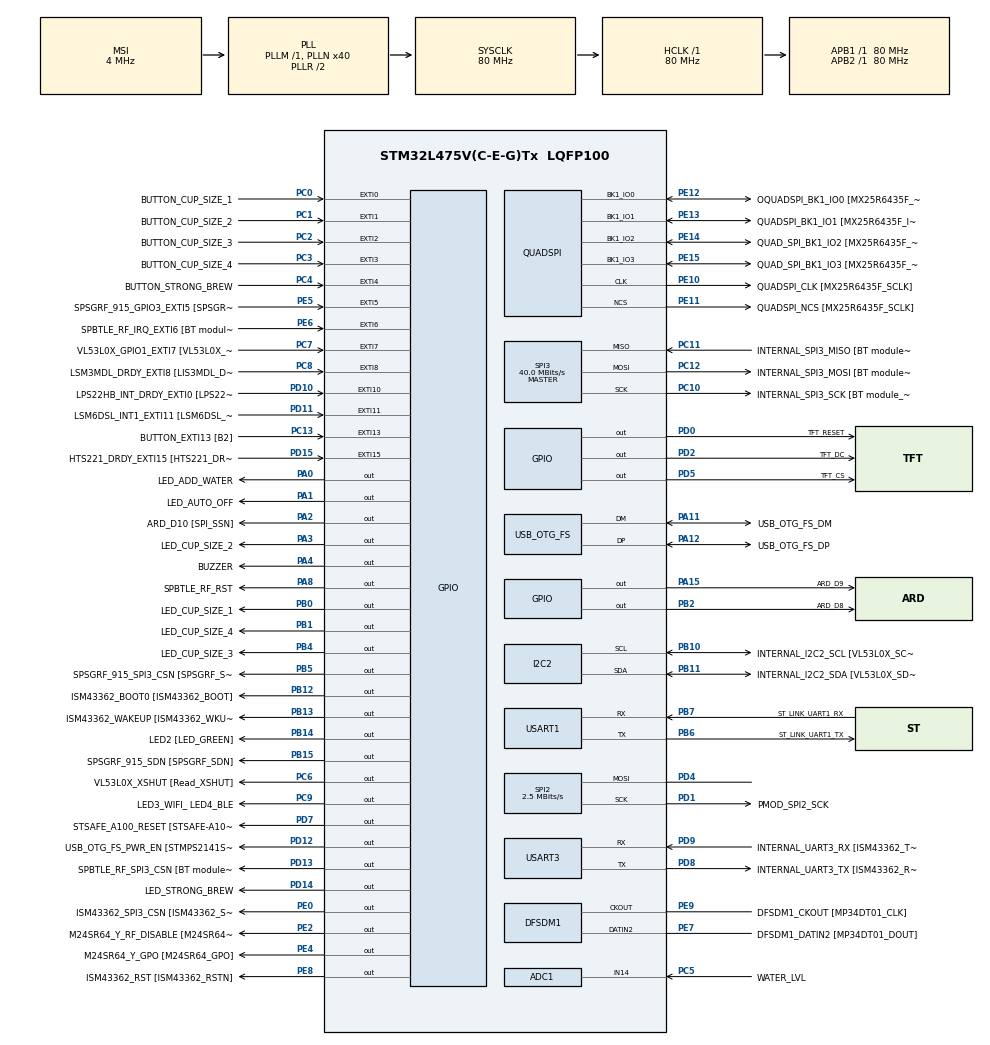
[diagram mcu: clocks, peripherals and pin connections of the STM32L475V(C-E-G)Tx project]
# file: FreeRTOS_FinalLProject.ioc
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ADC1.Channel-0\#ChannelRegularConversion=ADC_CHANNEL_14
ADC1.NbrOfConversionFlag=1
ADC1.OffsetNumber-0\#ChannelRegularConversion=ADC_OFFSET_NONE
ADC1.Rank-0\#ChannelRegularConversion=1
ADC1.SamplingTime-0\#ChannelRegularConversion=ADC_SAMPLETIME_2CYCLES_5
ADC1.master=1
FREERTOS.Queues01=xEventQueue,10,uint16_t,0,Dynamic,NULL,NULL;xConsoleQueue,10,uint16_t,0,Dynamic,NULL,NULL
FREERTOS.Tasks01=CoffStateMachin,3,512,StartCoffeeStateMachineTask,Default,NULL,Dynamic,NULL,NULL;CoffSensorTask,2,256,StartCoffeeSensorTask,Default,NULL,Dynamic,NULL,NULL;CoffConsoleTask,1,256,StartCoffeeConsoleTask,Default,NULL,Dynamic,NULL,NULL;CoffDisplayTask,-2,256,StartCoffeeDisplayTask,Default,NULL,Dynamic,NULL,NULL
FREERTOS.configTOTAL_HEAP_SIZE=8000
FREERTOS.configUSE_TIMERS=1
Mcu.Family=STM32L4
Mcu.Name=STM32L475V(C-E-G)Tx
Mcu.Package=LQFP100
NVIC.EXTI0_IRQn=true\:5\:0\:false\:false\:true\:true\:true\:true\:true
NVIC.EXTI15_10_IRQn=true\:5\:0\:false\:false\:true\:true\:true\:true\:true
NVIC.EXTI1_IRQn=true\:5\:0\:false\:false\:true\:true\:true\:true\:true
NVIC.EXTI2_IRQn=true\:5\:0\:false\:false\:true\:true\:true\:true\:true
NVIC.EXTI3_IRQn=true\:5\:0\:false\:false\:true\:true\:true\:true\:true
NVIC.EXTI4_IRQn=true\:5\:0\:false\:false\:true\:true\:true\:true\:true
NVIC.EXTI9_5_IRQn=true\:5\:0\:false\:false\:true\:true\:true\:true\:true
NVIC.PriorityGroup=NVIC_PRIORITYGROUP_4
NVIC.TIM1_UP_TIM16_IRQn=true\:15\:0\:false\:false\:true\:false\:false\:true\:true
NVIC.TimeBase=TIM1_UP_TIM16_IRQn
NVIC.TimeBaseIP=TIM1
PA0.GPIO_Label=LED_ADD_WATER
PA0.Signal=GPIO_Output
PA1.GPIO_Label=LED_AUTO_OFF
PA1.Signal=GPIO_Output
PA10.GPIO_Label=USB_OTG_FS_ID
PA10.Signal=USB_OTG_FS_ID
PA11.GPIO_Label=USB_OTG_FS_DM
PA11.Mode=Device_Only
PA11.Signal=USB_OTG_FS_DM
PA12.GPIO_Label=USB_OTG_FS_DP
PA12.Mode=Device_Only
PA12.Signal=USB_OTG_FS_DP
PA13\ (JTMS-SWDIO).GPIO_Label=SYS_JTMS_SWDIO
PA13\ (JTMS-SWDIO).Mode=Serial_Wire
PA13\ (JTMS-SWDIO).Signal=SYS_JTMS-SWDIO
PA14\ (JTCK-SWCLK).GPIO_Label=SYS_JTCK_SWCLK
PA14\ (JTCK-SWCLK).Mode=Serial_Wire
PA14\ (JTCK-SWCLK).Signal=SYS_JTCK-SWCLK
PA15\ (JTDI).GPIO_Label=ARD_D9
PA15\ (JTDI).Signal=GPIO_Output
PA2.GPIO_Label=ARD_D10 [SPI_SSN]
PA2.Signal=GPIO_Output
PA3.GPIO_Label=LED_CUP_SIZE_2
PA3.Signal=GPIO_Output
PA4.GPIO_Label=BUZZER
PA4.GPIO_ModeDefaultOutputPP=GPIO_MODE_OUTPUT_OD
PA4.GPIO_PuPd=GPIO_NOPULL
PA4.PinState=GPIO_PIN_SET
PA4.Signal=GPIO_Output
PA5.GPIO_Label=ARD_D13 [SPI1_SCK]
PA5.Signal=SPI1_SCK
PA6.GPIO_Label=ARD_D12 [SPI1_MISO]
PA6.Signal=SPI1_MISO
PA7.GPIO_Label=ARD_D11 [SPI1_MOSI]
PA7.Signal=SPI1_MOSI
PA8.GPIO_Label=SPBTLE_RF_RST
PA8.Signal=GPIO_Output
PA9.GPIO_Label=USB_OTG_FS_VBUS [STMPS2141STR_OUT]
PA9.Signal=USB_OTG_FS_VBUS
PB0.GPIO_Label=LED_CUP_SIZE_1
PB0.Signal=GPIO_Output
PB1.GPIO_Label=LED_CUP_SIZE_4
PB1.Signal=GPIO_Output
PB10.GPIO_Label=INTERNAL_I2C2_SCL [VL53L0X_SCL]
PB10.GPIO_Pu=GPIO_PULLUP
PB10.Mode=I2C
PB10.Signal=I2C2_SCL
PB11.GPIO_Label=INTERNAL_I2C2_SDA [VL53L0X_SDA]
PB11.GPIO_Pu=GPIO_PULLUP
PB11.Mode=I2C
PB11.Signal=I2C2_SDA
PB12.GPIO_Label=ISM43362_BOOT0 [ISM43362_BOOT]
PB12.Signal=GPIO_Output
PB13.GPIO_Label=ISM43362_WAKEUP [ISM43362_WKUP]
PB13.Signal=GPIO_Output
PB14.GPIO_Label=LED2 [LED_GREEN]
PB14.Signal=GPIO_Output
PB15.GPIO_Label=SPSGRF_915_SDN [SPSGRF_SDN]
PB15.Signal=GPIO_Output
PB2.GPIO_Label=ARD_D8
PB2.Signal=GPIO_Output
PB3\ (JTDO-TRACESWO).GPIO_Label=SYS_JTD0_SWO
PB3\ (JTDO-TRACESWO).Signal=SYS_JTDO-SWO
PB4\ (NJTRST).GPIO_Label=LED_CUP_SIZE_3
PB4\ (NJTRST).Signal=GPIO_Output
PB5.GPIO_Label=SPSGRF_915_SPI3_CSN [SPSGRF_SPI_CS]
PB5.PinState=GPIO_PIN_SET
PB5.Signal=GPIO_Output
PB6.GPIO_Label=ST_LINK_UART1_TX
PB6.Mode=Asynchronous
PB6.Signal=USART1_TX
PB7.GPIO_Label=ST_LINK_UART1_RX
PB7.Mode=Asynchronous
PB7.Signal=USART1_RX
PB8.GPIO_Label=ARD_D15 [I2C1_SCL]
PB8.Signal=I2C1_SCL
PB9.GPIO_Label=ARD_D14 [I2C1_SDA]
PB9.Signal=I2C1_SDA
PC0.GPIO_Label=BUTTON_CUP_SIZE_1
PC0.GPIO_ModeDefaultEXTI=GPIO_MODE_IT_FALLING
PC0.GPIO_PuPd=GPIO_PULLUP
PC0.Signal=GPXTI0
PC1.GPIO_Label=BUTTON_CUP_SIZE_2
PC1.GPIO_ModeDefaultEXTI=GPIO_MODE_IT_FALLING
PC1.GPIO_PuPd=GPIO_PULLUP
PC1.Signal=GPXTI1
PC10.GPIO_Label=INTERNAL_SPI3_SCK [BT module_SPI_SCLK] [ISM43362_SCK]
PC10.Mode=Full_Duplex_Master
PC10.Signal=SPI3_SCK
PC11.GPIO_Label=INTERNAL_SPI3_MISO [BT module_SPI_MISO] [ISM43362_MISO]
PC11.Mode=Full_Duplex_Master
PC11.Signal=SPI3_MISO
PC12.GPIO_Label=INTERNAL_SPI3_MOSI [BT module_SPI_MOSI] [ISM43362_MOSI]
PC12.Mode=Full_Duplex_Master
PC12.Signal=SPI3_MOSI
PC13.GPIO_Label=BUTTON_EXTI13 [B2]
PC13.GPIO_ModeDefaultEXTI=GPIO_MODE_IT_FALLING
PC13.GPIO_PuPd=GPIO_NOPULL
PC13.Signal=GPXTI13
PC14-OSC32_IN\ (PC14).Mode=LSE-External-Oscillator
PC14-OSC32_IN\ (PC14).Signal=RCC_OSC32_IN
PC15-OSC32_OUT\ (PC15).Mode=LSE-External-Oscillator
PC15-OSC32_OUT\ (PC15).Signal=RCC_OSC32_OUT
PC2.GPIO_Label=BUTTON_CUP_SIZE_3
PC2.GPIO_ModeDefaultEXTI=GPIO_MODE_IT_FALLING
PC2.GPIO_PuPd=GPIO_PULLUP
PC2.Signal=GPXTI2
PC3.GPIO_Label=BUTTON_CUP_SIZE_4
PC3.GPIO_ModeDefaultEXTI=GPIO_MODE_IT_FALLING
PC3.GPIO_PuPd=GPIO_PULLUP
PC3.Signal=GPXTI3
PC4.GPIO_Label=BUTTON_STRONG_BREW
PC4.GPIO_ModeDefaultEXTI=GPIO_MODE_IT_FALLING
PC4.GPIO_PuPd=GPIO_PULLUP
PC4.Signal=GPXTI4
PC5.GPIO_Label=WATER_LVL
PC5.Signal=ADCx_IN14
PC6.GPIO_Label=VL53L0X_XSHUT [Read_XSHUT]
PC6.Signal=GPIO_Output
PC7.GPIO_Label=VL53L0X_GPIO1_EXTI7 [VL53L0X_GPIO1]
PC7.Signal=GPXTI7
PC8.GPIO_Label=LSM3MDL_DRDY_EXTI8 [LIS3MDL_DRDY]
PC8.Signal=GPXTI8
PC9.GPIO_Label=LED3_WIFI_ LED4_BLE
PC9.Signal=GPIO_Output
PD0.GPIO_Label=TFT_RESET
PD0.Signal=GPIO_Output
PD1.GPIO_Label=PMOD_SPI2_SCK
PD1.Mode=Simplex_Bidirectional_Master
PD1.Signal=SPI2_SCK
PD10.GPIO_Label=LPS22HB_INT_DRDY_EXTI0 [LPS22HB_INT_DRDY] 
PD10.Signal=GPXTI10
PD11.GPIO_Label=LSM6DSL_INT1_EXTI11 [LSM6DSL_INT1]
PD11.Signal=GPXTI11
PD12.GPIO_Label=USB_OTG_FS_PWR_EN [STMPS2141STR_EN]
PD12.Signal=GPIO_Output
PD13.GPIO_Label=SPBTLE_RF_SPI3_CSN [BT module_SPI_CS]
PD13.PinState=GPIO_PIN_SET
PD13.Signal=GPIO_Output
PD14.GPIO_Label=LED_STRONG_BREW
PD14.Signal=GPIO_Output
PD15.GPIO_Label=HTS221_DRDY_EXTI15 [HTS221_DRDY]
PD15.Signal=GPXTI15
PD2.GPIO_Label=TFT_DC
PD2.Signal=GPIO_Output
PD3.Signal=SPI2_MISO
PD4.Mode=Simplex_Bidirectional_Master
PD4.Signal=SPI2_MOSI
PD5.GPIO_Label=TFT_CS
PD5.Signal=GPIO_Output
PD6.GPIO_Label=PMOD_UART2_RX
PD6.Signal=USART2_RX
PD7.GPIO_Label=STSAFE_A100_RESET [STSAFE-A100_RESET]
PD7.Signal=GPIO_Output
PD8.GPIO_Label=INTERNAL_UART3_TX [ISM43362_RX]
PD8.Mode=Asynchronous
PD8.Signal=USART3_TX
PD9.GPIO_Label=INTERNAL_UART3_RX [ISM43362_TX]
PD9.Mode=Asynchronous
PD9.Signal=USART3_RX
PE0.GPIO_Label=ISM43362_SPI3_CSN [ISM43362_SSN]
PE0.PinState=GPIO_PIN_SET
PE0.Signal=GPIO_Output
PE10.GPIO_Label=QUADSPI_CLK [MX25R6435F_SCLK]
PE10.Mode=Single Bank
PE10.Signal=QUADSPI_CLK
PE11.GPIO_Label=QUADSPI_NCS [MX25R6435F_SCLK]
PE11.Mode=Single Bank
PE11.Signal=QUADSPI_NCS
PE12.GPIO_Label=OQUADSPI_BK1_IO0 [MX25R6435F_IO0]
PE12.Mode=Single Bank
PE12.Signal=QUADSPI_BK1_IO0
PE13.GPIO_Label=QUADSPI_BK1_IO1 [MX25R6435F_IO1]
PE13.Mode=Single Bank
PE13.Signal=QUADSPI_BK1_IO1
PE14.GPIO_Label=QUAD_SPI_BK1_IO2 [MX25R6435F_IO2]
PE14.Mode=Single Bank
PE14.Signal=QUADSPI_BK1_IO2
PE15.GPIO_Label=QUAD_SPI_BK1_IO3 [MX25R6435F_IO3]
PE15.Mode=Single Bank
PE15.Signal=QUADSPI_BK1_IO3
PE2.GPIO_Label=M24SR64_Y_RF_DISABLE [M24SR64_RFDIS]
PE2.Signal=GPIO_Output
PE4.GPIO_Label=M24SR64_Y_GPO [M24SR64_GPO]
PE4.Signal=GPIO_Output
PE5.GPIO_Label=SPSGRF_915_GPIO3_EXTI5 [SPSGRF_GPIO_3]
PE5.Signal=GPXTI5
PE6.GPIO_Label=SPBTLE_RF_IRQ_EXTI6 [BT module_SPI_IRQ]
PE6.Signal=GPXTI6
PE7.GPIO_Label=DFSDM1_DATIN2 [MP34DT01_DOUT]
PE7.Signal=S_DATAIN2DFSDM1
PE8.GPIO_Label=ISM43362_RST [ISM43362_RSTN]
PE8.Signal=GPIO_Output
PE9.GPIO_Label=DFSDM1_CKOUT [MP34DT01_CLK]
PE9.Signal=S_CKOUTDFSDM1
ProjectManager.HeapSize=0x200
ProjectManager.StackSize=0x400
ProjectManager.TargetToolchain=STM32CubeIDE
QUADSPI.ClockPrescaler=2
QUADSPI.FifoThreshold=4
QUADSPI.FlashSize=23
QUADSPI.SampleShifting=QSPI_SAMPLE_SHIFTING_HALFCYCLE
RCC.ADCFreq_Value=48000000
RCC.AHBFreq_Value=80000000
RCC.APB1Freq_Value=80000000
RCC.APB1TimFreq_Value=80000000
RCC.APB2Freq_Value=80000000
RCC.APB2TimFreq_Value=80000000
RCC.CortexFreq_Value=80000000
RCC.HCLKFreq_Value=80000000
RCC.HSE_VALUE=8000000
RCC.HSI_VALUE=16000000
RCC.MSI_VALUE=4000000
RCC.PLLN=40
RCC.PLLSAI1N=24
RCC.SYSCLKFreq_VALUE=80000000
RCC.SYSCLKSource=RCC_SYSCLKSOURCE_PLLCLK
RCC.USBFreq_Value=48000000
RCC.VCOOutputFreq_Value=160000000
SH.ADCx_IN14.0=ADC1_IN14,IN14-Single-Ended
SH.S_CKOUTDFSDM1.0=DFSDM1_CKOUT,CKOUT
SH.S_CKOUTDFSDM1.1=DFSDM1_CKOUT,PDM_SPI_Input_from_ch12_and_Internal_Clock
SH.S_DATAIN2DFSDM1.0=DFSDM1_DATIN2,PDM_SPI_Input_from_ch12_and_Internal_Clock
SPI2.BaudRatePrescaler=SPI_BAUDRATEPRESCALER_32
SPI2.CalculateBaudRate=2.5 MBits/s
SPI2.DataSize=SPI_DATASIZE_8BIT
SPI2.Direction=SPI_DIRECTION_1LINE
SPI2.Mode=SPI_MODE_MASTER
SPI2.VirtualType=VM_MASTER
SPI3.CalculateBaudRate=40.0 MBits/s
SPI3.Direction=SPI_DIRECTION_2LINES
SPI3.Mode=SPI_MODE_MASTER
SPI3.VirtualType=VM_MASTER
USART1.VirtualMode-Asynchronous=VM_ASYNC
USART3.VirtualMode-Asynchronous=VM_ASYNC
USB_OTG_FS.VirtualMode=Device_Only
VP_FREERTOS_VS_CMSIS_V1.Mode=CMSIS_V1
VP_SYS_VS_tim1.Mode=TIM1
board=B-L475E-IOT01A2

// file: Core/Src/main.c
/* USER CODE BEGIN Header */
/**
  ******************************************************************************
  * @file           : main.c
  * @brief          : Main program body
  ******************************************************************************
  * @attention
  *
  * Copyright (c) 2025 STMicroelectronics.
  * All rights reserved.
  *
  * This software is licensed under terms that can be found in the LICENSE file
  * in the root directory of this software component.
  * If no LICENSE file comes with this software, it is provided AS-IS.
  *
  ******************************************************************************
  */
/* USER CODE END Header */

#include "main.h"
#include "cmsis_os.h"

/* USER CODE BEGIN Includes */
#include <stdio.h>
#include <string.h>
#include <stdarg.h>

#include "stm32l475e_iot01_tsensor.h"

#include "st7735.h"
#include "fonts.h"
#include "display_img.h"
/* USER CODE END Includes */

/* USER CODE BEGIN PD */

#define DEBOUNCE_MS 200

/* Brew times in ms per cup size (example values) */
#define BREW_TIME_CUP1_MS   6000
#define BREW_TIME_CUP2_MS   8000
#define BREW_TIME_CUP3_MS   10000
#define BREW_TIME_CUP4_MS   12000

/* Auto-off timeout (ms) after brew finished & idle */
#define AUTO_OFF_TIMEOUT_MS   10000UL   // 60 seconds

/* Water level thresholds (0–100%) */
#define WATER_LEVEL_MIN_PERCENT   25    // below this => Add water

/* LED blink period for the active cup (ms) */
#define CUP_LED_BLINK_PERIOD_MS  300

/* Colors */
#define COLOR_BG          ST7735_BLACK
#define COLOR_TEXT        ST7735_WHITE
#define COLOR_HILIGHT     ST7735_YELLOW
#define COLOR_ERROR       ST7735_RED
#define COLOR_WATER_OK    ST7735_GREEN
#define COLOR_WATER_LOW   ST7735_MAGENTA
#define COLOR_COFFEE      ST7735_COLOR565(139, 69, 19)
#define COLOR_FRAME       ST7735_WHITE

#define CUP_X   90
#define CUP_Y   40
#define CUP_W   30
#define CUP_H   80

/* USER CODE END PD */

ADC_HandleTypeDef hadc1;

DFSDM_Channel_HandleTypeDef hdfsdm1_channel1;

I2C_HandleTypeDef hi2c2;

QSPI_HandleTypeDef hqspi;

SPI_HandleTypeDef hspi2;
SPI_HandleTypeDef hspi3;

UART_HandleTypeDef huart1;
UART_HandleTypeDef huart3;

PCD_HandleTypeDef hpcd_USB_OTG_FS;

osThreadId CoffStateMachinHandle;
osThreadId CoffSensorTaskHandle;
osThreadId CoffConsoleTaskHandle;
osThreadId CoffDisplayTaskHandle;
osMessageQId xEventQueueHandle;
osMessageQId xConsoleQueueHandle;

/* USER CODE BEGIN PV */

static volatile TickType_t gLastExtiTick[6]; // map: [0]=PC13, [1]=PC0, [2]=PC1,[3]=PC2,[4]=PC3,[5]=PC4

typedef enum
{
    COFFEE_STATE_OFF = 0,
    COFFEE_STATE_IDLE,
    COFFEE_STATE_BREWING,
	COFFEE_STATE_DONE,
    COFFEE_STATE_ERROR_NO_WATER
} CoffeeState_t;

typedef enum
{
    EVT_NONE = 0,
    EVT_POWER_TOGGLE,       // Blue button (BUTTON_EXTI13)
    EVT_STRONG_TOGGLE,      // Strong brew button
    EVT_CUP_1,
    EVT_CUP_2,
    EVT_CUP_3,
    EVT_CUP_4
} CoffeeEvent_t;

typedef enum
{
    CUP_NONE = 0,
    CUP_1,
    CUP_2,
    CUP_3,
    CUP_4
} CupSize_t;

typedef struct
{
    char text[100];
} ConsoleMessage_t;

/* State variables */
volatile CoffeeState_t gCoffeeState = COFFEE_STATE_OFF;
volatile uint8_t gStrongBrew = 0;        // 0 = normal, 1 = strong
volatile uint8_t gAutoOffFlag = 0;       // controls LED_AUTO_OFF
volatile uint32_t gLastActivityTick = 0; // for auto-off countdown
volatile CupSize_t gCurrentCup = CUP_NONE;

volatile TickType_t gBrewEndTick     = 0;      // absolute tick when brew ends
volatile uint32_t   gBrewDurationMs  = 0;      // duration of current brew

/* USER CODE END PV */

void SystemClock_Config(void);
void PeriphCommonClock_Config(void);
static void MX_GPIO_Init(void);
static void MX_DFSDM1_Init(void);
static void MX_I2C2_Init(void);
static void MX_QUADSPI_Init(void);
static void MX_SPI3_Init(void);
static void MX_USART1_UART_Init(void);
static void MX_USART3_UART_Init(void);
static void MX_USB_OTG_FS_PCD_Init(void);
static void MX_ADC1_Init(void);
static void MX_SPI2_Init(void);
void StartCoffeeStateMachineTask(void const * argument);
void StartCoffeeSensorTask(void const * argument);
void StartCoffeeConsoleTask(void const * argument);
void StartCoffeeDisplayTask(void const * argument);

/* USER CODE BEGIN PFP */
static uint8_t Coffee_ReadWaterLevelPercent(void);
static float   Coffee_ReadTemperatureDegC(void);
static void    Coffee_UpdateLeds(void);
static void    Coffee_SendConsole(const char *fmt, ...);

static void DrawHeader(const char *title);
static void DrawCupFrame(void);
static void DrawCupFill(uint8_t percent);
static void Screen_OffOrIdle(uint8_t water, float tempC);
static void Screen_Brewing(uint8_t water, float tempC);
static void Screen_Done(void);
static void Screen_AutoOff(void);
static void Screen_ErrorNoWater(void);
static uint8_t GetBrewProgressPercent(void);
/* USER CODE END PFP */

/* USER CODE BEGIN 0 */

void beep(uint8_t times) {
	for(uint8_t i=0; i < times; i++) {
		HAL_GPIO_WritePin(BUZZER_GPIO_Port, BUZZER_Pin, GPIO_PIN_RESET);
		osDelay(100);
		HAL_GPIO_WritePin(BUZZER_GPIO_Port, BUZZER_Pin, GPIO_PIN_SET);
		osDelay(100);
	}
}

//No Context Switch needed
void HAL_GPIO_EXTI_Callback(uint16_t GPIO_Pin) {
    BaseType_t xHigherPriorityTaskWoken = pdFALSE;
    CoffeeEvent_t evt = EVT_NONE;
    TickType_t now = xTaskGetTickCountFromISR();

    /* Determine index for debounce table */
    int idx = -1;

    if (GPIO_Pin == BUTTON_EXTI13_Pin)         idx = 0;  // Blue onboard button
    else if (GPIO_Pin == BUTTON_CUP_SIZE_1_Pin) idx = 1;
    else if (GPIO_Pin == BUTTON_CUP_SIZE_2_Pin) idx = 2;
    else if (GPIO_Pin == BUTTON_CUP_SIZE_3_Pin) idx = 3;
    else if (GPIO_Pin == BUTTON_CUP_SIZE_4_Pin) idx = 4;
    else if (GPIO_Pin == BUTTON_STRONG_BREW_Pin) idx = 5;

    if (idx < 0)
        return;

    if ((now - gLastExtiTick[idx]) < pdMS_TO_TICKS(DEBOUNCE_MS))
        return; // ignore bounce

    gLastExtiTick[idx] = now;

    /* Map pin to event */
    if (GPIO_Pin == BUTTON_EXTI13_Pin)
    {
        evt = EVT_POWER_TOGGLE;
    }
    else if (GPIO_Pin == BUTTON_STRONG_BREW_Pin)
    {
        evt = EVT_STRONG_TOGGLE;
    }
    else if (GPIO_Pin == BUTTON_CUP_SIZE_1_Pin)
    {
        evt = EVT_CUP_1;
    }
    else if (GPIO_Pin == BUTTON_CUP_SIZE_2_Pin)
    {
        evt = EVT_CUP_2;
    }
    else if (GPIO_Pin == BUTTON_CUP_SIZE_3_Pin)
    {
        evt = EVT_CUP_3;
    }
    else if (GPIO_Pin == BUTTON_CUP_SIZE_4_Pin)
    {
        evt = EVT_CUP_4;
    }

    if (evt != EVT_NONE && xEventQueueHandle != NULL)
    {
        xQueueSendFromISR(xEventQueueHandle, &evt, &xHigherPriorityTaskWoken);
    }
    portYIELD_FROM_ISR(xHigherPriorityTaskWoken);

}

/* Read water level as percentage (0–100) from ADC on PC5 (WATER_LVL_Pin) */
static uint8_t Coffee_ReadWaterLevelPercent(void) {
    uint32_t adc_in = 0;

    HAL_ADC_Start(&hadc1);
    if (HAL_ADC_PollForConversion(&hadc1, 10) == HAL_OK)
    {
    	adc_in = HAL_ADC_GetValue(&hadc1);
    }
    HAL_ADC_Stop(&hadc1);

    // 12-bit ADC: 0–4095 -> 0–100%
    uint8_t water_pct = (uint8_t)((adc_in * 100U) / 4095U);
    return water_pct;
}

/* Simulated temperature: here just a fake ramp or fixed value.
   You can replace this with real sensor reading (HTS221, LPS22, etc.) */
static float Coffee_ReadTemperatureDegC(void) {
    /* For now, return a dummy 85.0C as “hot water” */
    return BSP_TSENSOR_ReadTemp();
}

/* Update LEDs according to state and strong brew flag */
static void Coffee_UpdateLeds(void) {
    /* Power LED: LED2 on PB14 */
    HAL_GPIO_WritePin(LED2_GPIO_Port, LED2_Pin,
    				gCoffeeState == COFFEE_STATE_OFF ? GPIO_PIN_RESET : GPIO_PIN_SET);
    /* Auto-off LED */
    HAL_GPIO_WritePin(LED_AUTO_OFF_GPIO_Port, LED_AUTO_OFF_Pin,
                      gAutoOffFlag ? GPIO_PIN_SET : GPIO_PIN_RESET);
    /* Strong brew LED */
    HAL_GPIO_WritePin(LED_STRONG_BREW_GPIO_Port, LED_STRONG_BREW_Pin,
                      gStrongBrew ? GPIO_PIN_SET : GPIO_PIN_RESET);
    /* Cup size LEDs */
    static TickType_t lastBlinkTick = 0;
    static GPIO_PinState blinkState = GPIO_PIN_RESET;

    TickType_t now = xTaskGetTickCount();

    if (gCoffeeState == COFFEE_STATE_BREWING) {
        /* Blink at CUP_LED_BLINK_PERIOD_MS while brewing */
        if ((now - lastBlinkTick) >= pdMS_TO_TICKS(CUP_LED_BLINK_PERIOD_MS)) {
            blinkState = (blinkState == GPIO_PIN_SET) ? GPIO_PIN_RESET : GPIO_PIN_SET;
            lastBlinkTick = now;
        }
    }
    else if (gCoffeeState == COFFEE_STATE_IDLE)
        /* In IDLE, show selected cup as solid ON */
        blinkState = GPIO_PIN_SET;
    else
        /* OFF or ERROR: all cup LEDs OFF, no blinking */
        blinkState = GPIO_PIN_RESET;
    GPIO_PinState cup1 = GPIO_PIN_RESET;
    GPIO_PinState cup2 = GPIO_PIN_RESET;
    GPIO_PinState cup3 = GPIO_PIN_RESET;
    GPIO_PinState cup4 = GPIO_PIN_RESET;

    if (gCoffeeState != COFFEE_STATE_OFF &&
        gCoffeeState != COFFEE_STATE_ERROR_NO_WATER)
    {
        switch (gCurrentCup)
        {
        case CUP_1: cup1 = blinkState; break;
        case CUP_2: cup2 = blinkState; break;
        case CUP_3: cup3 = blinkState; break;
        case CUP_4: cup4 = blinkState; break;
        default: /* CUP_NONE: all remain OFF */ break;
        }
    }

    HAL_GPIO_WritePin(LED_CUP_SIZE_1_GPIO_Port, LED_CUP_SIZE_1_Pin, cup1);
    HAL_GPIO_WritePin(LED_CUP_SIZE_2_GPIO_Port, LED_CUP_SIZE_2_Pin, cup2);
    HAL_GPIO_WritePin(LED_CUP_SIZE_3_GPIO_Port, LED_CUP_SIZE_3_Pin, cup3);
    HAL_GPIO_WritePin(LED_CUP_SIZE_4_GPIO_Port, LED_CUP_SIZE_4_Pin, cup4);
}

static void Coffee_SendConsole(const char *fmt, ...) {
    if (xConsoleQueueHandle == NULL) return;

    ConsoleMessage_t msg;
    va_list args;
    va_start(args, fmt);
    vsnprintf(msg.text, sizeof(msg.text), fmt, args);
    va_end(args);

    /* Send, drop if queue full (non-blocking) */
    (void)xQueueSend(xConsoleQueueHandle, &msg, 0);
}

/* ------------------------------------------------------------------ */
/* Screen helpers                                                     */
/* ------------------------------------------------------------------ */

static void DrawHeader(const char *title) {
    ST7735_FillRectangleFast(0, 0, ST7735_WIDTH, 22, ST7735_BLUE);
    ST7735_WriteString(20, 2, title, Font_11x18, ST7735_WHITE, ST7735_BLUE);
}

static void DrawCupFrame(void) {
    /* Outline */
    ST7735_FillRectangleFast(CUP_X, CUP_Y, CUP_W, CUP_H, COLOR_FRAME);
    /* Hollow inside */
    ST7735_FillRectangleFast(CUP_X + 2, CUP_Y + 2, CUP_W - 4, CUP_H - 4, COLOR_BG);
}

static void DrawCupFill(uint8_t percent) {
    if (percent > 100) percent = 100;

    uint16_t innerH = CUP_H - 4;
    uint16_t innerW = CUP_W - 4;

    uint16_t fillH  = (innerH * percent) / 100;
    uint16_t startY = CUP_Y + 2 + innerH - fillH;

    /* Clear inside first */
    ST7735_FillRectangleFast(CUP_X + 2, CUP_Y + 2, innerW, innerH, COLOR_BG);

    if (fillH > 0)
    {
        ST7735_FillRectangleFast(CUP_X + 2, startY, innerW, fillH, COLOR_COFFEE);
    }
}

static void Screen_OffOrIdle(uint8_t water, float tempC) {
    char line[32];

    const char *stateText = (gCoffeeState == COFFEE_STATE_OFF) ? "OFF" : "IDLE";
    DrawHeader(stateText);

    /* Main info block */
    snprintf(line, sizeof(line), "Water: %3u%%", water);
    ST7735_WriteString(2, 24, line, Font_7x10,
                       (water < WATER_LEVEL_MIN_PERCENT) ? COLOR_WATER_LOW : COLOR_WATER_OK,
                       COLOR_BG);

    snprintf(line, sizeof(line), "Temp : %4.1fC", tempC);
    ST7735_WriteString(2, 44, line, Font_7x10, COLOR_TEXT, COLOR_BG);

    snprintf(line, sizeof(line), "Brew : %s", gStrongBrew ? "STRONG" : "NORMAL");
    ST7735_WriteString(2, 64, line, Font_7x10,
                       gStrongBrew ? COLOR_HILIGHT : COLOR_TEXT, COLOR_BG);

    if (gAutoOffFlag)
    {
        ST7735_WriteString(2, 110, "AUTO OFF READY", Font_7x10,
                           COLOR_HILIGHT, COLOR_BG);
    }
    else
    {
        ST7735_WriteString(2, 84, "Choose Brew Size:", Font_7x10,
                           COLOR_TEXT, COLOR_BG);
        ST7735_WriteString(6, 84+12, "Cup Size 1: 6oz", Font_7x10,
                                   COLOR_TEXT, COLOR_BG);
        ST7735_WriteString(6, 84+12*2, "Cup Size 2: 8oz", Font_7x10,
                                   COLOR_TEXT, COLOR_BG);
        ST7735_WriteString(6, 84+12*3, "Cup Size 3: 10oz", Font_7x10,
                                   COLOR_TEXT, COLOR_BG);
        ST7735_WriteString(6, 84+12*4, "Cup Size 4: 12oz", Font_7x10,
                                   COLOR_TEXT, COLOR_BG);
    }
}

static void Screen_Brewing(uint8_t water, float tempC) {
    char line[32];

    DrawHeader("BREWING");

    /* Text on left side */
    snprintf(line, sizeof(line), "Cup Size: %u", gCurrentCup);
    ST7735_WriteString(2, 24, line, Font_7x10, COLOR_TEXT, COLOR_BG);

    snprintf(line, sizeof(line), "%s", gStrongBrew ? "STRONG" : "NORMAL");
    ST7735_WriteString(2, 44, line, Font_7x10,
                       gStrongBrew ? COLOR_HILIGHT : COLOR_TEXT, COLOR_BG);

//    snprintf(line, sizeof(line), "Temp: %4.1fC", tempC);
//    ST7735_WriteString(2, 64, line, Font_7x10, COLOR_TEXT, COLOR_BG);

    uint8_t progress = GetBrewProgressPercent();
    snprintf(line, sizeof(line), "%3u%%", progress);
    ST7735_WriteString(2, 84, line, Font_11x18, COLOR_HILIGHT, COLOR_BG);

    /* Cup animation on the right */
    DrawCupFrame();
    DrawCupFill(progress);
}

static void Screen_Done(void) {
	DrawHeader("DONE!");
	ST7735_DrawImage(0, 20, ST7735_WIDTH, ST7735_HEIGHT-22, (uint16_t*)enjoy_coffee_128x128);
	ST7735_FillRectangleFast(0, 140, ST7735_WIDTH, ST7735_HEIGHT-140, ST7735_WHITE);
}

static void Screen_AutoOff(void) {
    DrawHeader("STANDBY");
    ST7735_WriteString(10, 40, "AUTO OFF",   Font_7x10, COLOR_HILIGHT, COLOR_BG);
    ST7735_WriteString(10, 62, "Press POWER", Font_7x10, COLOR_TEXT,   COLOR_BG);
    ST7735_WriteString(10, 84, "to WAKE",    Font_7x10, COLOR_TEXT,   COLOR_BG);
}

static void Screen_ErrorNoWater(void) {
    DrawHeader("ERROR");
    ST7735_WriteString(10, 40, "NO WATER!",  Font_7x10, COLOR_ERROR, COLOR_BG);
    ST7735_WriteString(10, 62, "Refill tank",Font_7x10, COLOR_TEXT,  COLOR_BG);
    ST7735_WriteString(10, 84, "Press POWER",Font_7x10, COLOR_TEXT,  COLOR_BG);
}

/* ------------------------------------------------------------------ */
/* Brew progress based on FreeRTOS ticks                              */
/* ------------------------------------------------------------------ */

static uint8_t GetBrewProgressPercent(void) {
    if (gCoffeeState != COFFEE_STATE_BREWING || gBrewDurationMs == 0)
        return 0;

    TickType_t now        = xTaskGetTickCount();
    TickType_t totalTicks = pdMS_TO_TICKS(gBrewDurationMs);
    TickType_t startTick  = gBrewEndTick - totalTicks;

    TickType_t elapsed;
    if (now <= startTick)
        elapsed = 0;
    else
        elapsed = now - startTick;

    if (elapsed >= totalTicks)
        return 100;

    uint32_t pct = (uint32_t)elapsed * 100U / totalTicks;
    if (pct > 100U) pct = 100U;
    return (uint8_t)pct;
}

/* USER CODE END 0 */

int main(void)
{

  /* MCU Configuration--------------------------------------------------------*/

  /* Reset of all peripherals, Initializes the Flash interface and the Systick. */
  HAL_Init();

  /* Configure the system clock */
  SystemClock_Config();

  /* Configure the peripherals common clocks */
  PeriphCommonClock_Config();

  /* Initialize all configured peripherals */
  MX_GPIO_Init();
  MX_DFSDM1_Init();
  MX_I2C2_Init();
  MX_QUADSPI_Init();
  MX_SPI3_Init();
  MX_USART1_UART_Init();
  MX_USART3_UART_Init();
  MX_USB_OTG_FS_PCD_Init();
  MX_ADC1_Init();
  MX_SPI2_Init();
  /* USER CODE BEGIN 2 */
  BSP_TSENSOR_Init();

  /* USER CODE END 2 */

  /* Create the queue(s) */
  /* definition and creation of xEventQueue */
  osMessageQDef(xEventQueue, 10, CoffeeEvent_t);
  xEventQueueHandle = osMessageCreate(osMessageQ(xEventQueue), NULL);

  /* definition and creation of xConsoleQueue */
  osMessageQDef(xConsoleQueue, 10, ConsoleMessage_t);
  xConsoleQueueHandle = osMessageCreate(osMessageQ(xConsoleQueue), NULL);

  /* USER CODE BEGIN RTOS_QUEUES */
  /* add queues, ... */
  if ((xEventQueueHandle == NULL) || (xConsoleQueueHandle == NULL))
  {
	  // If something failed, stay here
	  while (1) { }
  }
  /* USER CODE END RTOS_QUEUES */

  /* Create the thread(s) */
  /* definition and creation of CoffStateMachin */
  osThreadDef(CoffStateMachin, StartCoffeeStateMachineTask, osPriorityRealtime, 0, 512);
  CoffStateMachinHandle = osThreadCreate(osThread(CoffStateMachin), NULL);

  /* definition and creation of CoffSensorTask */
  osThreadDef(CoffSensorTask, StartCoffeeSensorTask, osPriorityHigh, 0, 256);
  CoffSensorTaskHandle = osThreadCreate(osThread(CoffSensorTask), NULL);

  /* definition and creation of CoffConsoleTask */
  osThreadDef(CoffConsoleTask, StartCoffeeConsoleTask, osPriorityAboveNormal, 0, 256);
  CoffConsoleTaskHandle = osThreadCreate(osThread(CoffConsoleTask), NULL);

  /* definition and creation of CoffDisplayTask */
  osThreadDef(CoffDisplayTask, StartCoffeeDisplayTask, osPriorityLow, 0, 256);
  CoffDisplayTaskHandle = osThreadCreate(osThread(CoffDisplayTask), NULL);

  /* USER CODE BEGIN RTOS_THREADS */
  /* add threads, ... */
  gLastActivityTick = xTaskGetTickCount();

  Coffee_SendConsole("Power Off\r\n");
  /* USER CODE END RTOS_THREADS */

  /* Start scheduler */
  osKernelStart();

  /* We should never get here as control is now taken by the scheduler */

  /* Infinite loop */
  while (1)
  {

  }
}

void SystemClock_Config(void)
{
  RCC_OscInitTypeDef RCC_OscInitStruct = {0};
  RCC_ClkInitTypeDef RCC_ClkInitStruct = {0};

  /** Configure the main internal regulator output voltage
  */
  if (HAL_PWREx_ControlVoltageScaling(PWR_REGULATOR_VOLTAGE_SCALE1) != HAL_OK)
  {
    Error_Handler();
  }

  /** Configure LSE Drive Capability
  */
  HAL_PWR_EnableBkUpAccess();
  __HAL_RCC_LSEDRIVE_CONFIG(RCC_LSEDRIVE_LOW);

  /** Initializes the RCC Oscillators according to the specified parameters
  * in the RCC_OscInitTypeDef structure.
  */
  RCC_OscInitStruct.OscillatorType = RCC_OSCILLATORTYPE_LSE|RCC_OSCILLATORTYPE_MSI;
  RCC_OscInitStruct.LSEState = RCC_LSE_ON;
  RCC_OscInitStruct.MSIState = RCC_MSI_ON;
  RCC_OscInitStruct.MSICalibrationValue = 0;
  RCC_OscInitStruct.MSIClockRange = RCC_MSIRANGE_6;
  RCC_OscInitStruct.PLL.PLLState = RCC_PLL_ON;
  RCC_OscInitStruct.PLL.PLLSource = RCC_PLLSOURCE_MSI;
  RCC_OscInitStruct.PLL.PLLM = 1;
  RCC_OscInitStruct.PLL.PLLN = 40;
  RCC_OscInitStruct.PLL.PLLP = RCC_PLLP_DIV7;
  RCC_OscInitStruct.PLL.PLLQ = RCC_PLLQ_DIV2;
  RCC_OscInitStruct.PLL.PLLR = RCC_PLLR_DIV2;
  if (HAL_RCC_OscConfig(&RCC_OscInitStruct) != HAL_OK)
  {
    Error_Handler();
  }

  /** Initializes the CPU, AHB and APB buses clocks
  */
  RCC_ClkInitStruct.ClockType = RCC_CLOCKTYPE_HCLK|RCC_CLOCKTYPE_SYSCLK
                              |RCC_CLOCKTYPE_PCLK1|RCC_CLOCKTYPE_PCLK2;
  RCC_ClkInitStruct.SYSCLKSource = RCC_SYSCLKSOURCE_PLLCLK;
  RCC_ClkInitStruct.AHBCLKDivider = RCC_SYSCLK_DIV1;
  RCC_ClkInitStruct.APB1CLKDivider = RCC_HCLK_DIV1;
  RCC_ClkInitStruct.APB2CLKDivider = RCC_HCLK_DIV1;

  if (HAL_RCC_ClockConfig(&RCC_ClkInitStruct, FLASH_LATENCY_4) != HAL_OK)
  {
    Error_Handler();
  }

  /** Enable MSI Auto calibration
  */
  HAL_RCCEx_EnableMSIPLLMode();
}

void PeriphCommonClock_Config(void)
{
  RCC_PeriphCLKInitTypeDef PeriphClkInit = {0};

  /** Initializes the peripherals clock
  */
  PeriphClkInit.PeriphClockSelection = RCC_PERIPHCLK_USB|RCC_PERIPHCLK_ADC;
  PeriphClkInit.AdcClockSelection = RCC_ADCCLKSOURCE_PLLSAI1;
  PeriphClkInit.UsbClockSelection = RCC_USBCLKSOURCE_PLLSAI1;
  PeriphClkInit.PLLSAI1.PLLSAI1Source = RCC_PLLSOURCE_MSI;
  PeriphClkInit.PLLSAI1.PLLSAI1M = 1;
  PeriphClkInit.PLLSAI1.PLLSAI1N = 24;
  PeriphClkInit.PLLSAI1.PLLSAI1P = RCC_PLLP_DIV7;
  PeriphClkInit.PLLSAI1.PLLSAI1Q = RCC_PLLQ_DIV2;
  PeriphClkInit.PLLSAI1.PLLSAI1R = RCC_PLLR_DIV2;
  PeriphClkInit.PLLSAI1.PLLSAI1ClockOut = RCC_PLLSAI1_48M2CLK|RCC_PLLSAI1_ADC1CLK;
  if (HAL_RCCEx_PeriphCLKConfig(&PeriphClkInit) != HAL_OK)
  {
    Error_Handler();
  }
}

static void MX_ADC1_Init(void)
{

  ADC_MultiModeTypeDef multimode = {0};
  ADC_ChannelConfTypeDef sConfig = {0};

  /** Common config
  */
  hadc1.Instance = ADC1;
  hadc1.Init.ClockPrescaler = ADC_CLOCK_ASYNC_DIV1;
  hadc1.Init.Resolution = ADC_RESOLUTION_12B;
  hadc1.Init.DataAlign = ADC_DATAALIGN_RIGHT;
  hadc1.Init.ScanConvMode = ADC_SCAN_DISABLE;
  hadc1.Init.EOCSelection = ADC_EOC_SINGLE_CONV;
  hadc1.Init.LowPowerAutoWait = DISABLE;
  hadc1.Init.ContinuousConvMode = DISABLE;
  hadc1.Init.NbrOfConversion = 1;
  hadc1.Init.DiscontinuousConvMode = DISABLE;
  hadc1.Init.ExternalTrigConv = ADC_SOFTWARE_START;
  hadc1.Init.ExternalTrigConvEdge = ADC_EXTERNALTRIGCONVEDGE_NONE;
  hadc1.Init.DMAContinuousRequests = DISABLE;
  hadc1.Init.Overrun = ADC_OVR_DATA_PRESERVED;
  hadc1.Init.OversamplingMode = DISABLE;
  if (HAL_ADC_Init(&hadc1) != HAL_OK)
  {
    Error_Handler();
  }

  /** Configure the ADC multi-mode
  */
  multimode.Mode = ADC_MODE_INDEPENDENT;
  if (HAL_ADCEx_MultiModeConfigChannel(&hadc1, &multimode) != HAL_OK)
  {
    Error_Handler();
  }

  /** Configure Regular Channel
  */
  sConfig.Channel = ADC_CHANNEL_14;
  sConfig.Rank = ADC_REGULAR_RANK_1;
  sConfig.SamplingTime = ADC_SAMPLETIME_2CYCLES_5;
  sConfig.SingleDiff = ADC_SINGLE_ENDED;
  sConfig.OffsetNumber = ADC_OFFSET_NONE;
  sConfig.Offset = 0;
  if (HAL_ADC_ConfigChannel(&hadc1, &sConfig) != HAL_OK)
  {
    Error_Handler();
  }

}

static void MX_DFSDM1_Init(void)
{

  hdfsdm1_channel1.Instance = DFSDM1_Channel1;
  hdfsdm1_channel1.Init.OutputClock.Activation = ENABLE;
  hdfsdm1_channel1.Init.OutputClock.Selection = DFSDM_CHANNEL_OUTPUT_CLOCK_SYSTEM;
  hdfsdm1_channel1.Init.OutputClock.Divider = 2;
  hdfsdm1_channel1.Init.Input.Multiplexer = DFSDM_CHANNEL_EXTERNAL_INPUTS;
  hdfsdm1_channel1.Init.Input.DataPacking = DFSDM_CHANNEL_STANDARD_MODE;
  hdfsdm1_channel1.Init.Input.Pins = DFSDM_CHANNEL_FOLLOWING_CHANNEL_PINS;
  hdfsdm1_channel1.Init.SerialInterface.Type = DFSDM_CHANNEL_SPI_RISING;
  hdfsdm1_channel1.Init.SerialInterface.SpiClock = DFSDM_CHANNEL_SPI_CLOCK_INTERNAL;
  hdfsdm1_channel1.Init.Awd.FilterOrder = DFSDM_CHANNEL_FASTSINC_ORDER;
  hdfsdm1_channel1.Init.Awd.Oversampling = 1;
  hdfsdm1_channel1.Init.Offset = 0;
  hdfsdm1_channel1.Init.RightBitShift = 0x00;
  if (HAL_DFSDM_ChannelInit(&hdfsdm1_channel1) != HAL_OK)
  {
    Error_Handler();
  }

}

static void MX_I2C2_Init(void)
{

  hi2c2.Instance = I2C2;
  hi2c2.Init.Timing = 0x00000E14;
  hi2c2.Init.OwnAddress1 = 0;
  hi2c2.Init.AddressingMode = I2C_ADDRESSINGMODE_7BIT;
  hi2c2.Init.DualAddressMode = I2C_DUALADDRESS_DISABLE;
  hi2c2.Init.OwnAddress2 = 0;
  hi2c2.Init.OwnAddress2Masks = I2C_OA2_NOMASK;
  hi2c2.Init.GeneralCallMode = I2C_GENERALCALL_DISABLE;
  hi2c2.Init.NoStretchMode = I2C_NOSTRETCH_DISABLE;
  if (HAL_I2C_Init(&hi2c2) != HAL_OK)
  {
    Error_Handler();
  }

  /** Configure Analogue filter
  */
  if (HAL_I2CEx_ConfigAnalogFilter(&hi2c2, I2C_ANALOGFILTER_ENABLE) != HAL_OK)
  {
    Error_Handler();
  }

  /** Configure Digital filter
  */
  if (HAL_I2CEx_ConfigDigitalFilter(&hi2c2, 0) != HAL_OK)
  {
    Error_Handler();
  }

}

static void MX_QUADSPI_Init(void)
{

  /* QUADSPI parameter configuration*/
  hqspi.Instance = QUADSPI;
  hqspi.Init.ClockPrescaler = 2;
  hqspi.Init.FifoThreshold = 4;
  hqspi.Init.SampleShifting = QSPI_SAMPLE_SHIFTING_HALFCYCLE;
  hqspi.Init.FlashSize = 23;
  hqspi.Init.ChipSelectHighTime = QSPI_CS_HIGH_TIME_1_CYCLE;
  hqspi.Init.ClockMode = QSPI_CLOCK_MODE_0;
  if (HAL_QSPI_Init(&hqspi) != HAL_OK)
  {
    Error_Handler();
  }

}

static void MX_SPI2_Init(void)
{

  /* SPI2 parameter configuration*/
  hspi2.Instance = SPI2;
  hspi2.Init.Mode = SPI_MODE_MASTER;
  hspi2.Init.Direction = SPI_DIRECTION_1LINE;
  hspi2.Init.DataSize = SPI_DATASIZE_8BIT;
  hspi2.Init.CLKPolarity = SPI_POLARITY_LOW;
  hspi2.Init.CLKPhase = SPI_PHASE_1EDGE;
  hspi2.Init.NSS = SPI_NSS_SOFT;
  hspi2.Init.BaudRatePrescaler = SPI_BAUDRATEPRESCALER_2;
  hspi2.Init.FirstBit = SPI_FIRSTBIT_MSB;
  hspi2.Init.TIMode = SPI_TIMODE_DISABLE;
  hspi2.Init.CRCCalculation = SPI_CRCCALCULATION_DISABLE;
  hspi2.Init.CRCPolynomial = 7;
  hspi2.Init.CRCLength = SPI_CRC_LENGTH_DATASIZE;
  hspi2.Init.NSSPMode = SPI_NSS_PULSE_ENABLE;
  if (HAL_SPI_Init(&hspi2) != HAL_OK)
  {
    Error_Handler();
  }

}

static void MX_SPI3_Init(void)
{

  /* SPI3 parameter configuration*/
  hspi3.Instance = SPI3;
  hspi3.Init.Mode = SPI_MODE_MASTER;
  hspi3.Init.Direction = SPI_DIRECTION_2LINES;
  hspi3.Init.DataSize = SPI_DATASIZE_4BIT;
  hspi3.Init.CLKPolarity = SPI_POLARITY_LOW;
  hspi3.Init.CLKPhase = SPI_PHASE_1EDGE;
  hspi3.Init.NSS = SPI_NSS_SOFT;
  hspi3.Init.BaudRatePrescaler = SPI_BAUDRATEPRESCALER_2;
  hspi3.Init.FirstBit = SPI_FIRSTBIT_MSB;
  hspi3.Init.TIMode = SPI_TIMODE_DISABLE;
  hspi3.Init.CRCCalculation = SPI_CRCCALCULATION_DISABLE;
  hspi3.Init.CRCPolynomial = 7;
  hspi3.Init.CRCLength = SPI_CRC_LENGTH_DATASIZE;
  hspi3.Init.NSSPMode = SPI_NSS_PULSE_ENABLE;
  if (HAL_SPI_Init(&hspi3) != HAL_OK)
  {
    Error_Handler();
  }

}

static void MX_USART1_UART_Init(void)
{

  huart1.Instance = USART1;
  huart1.Init.BaudRate = 115200;
  huart1.Init.WordLength = UART_WORDLENGTH_8B;
  huart1.Init.StopBits = UART_STOPBITS_1;
  huart1.Init.Parity = UART_PARITY_NONE;
  huart1.Init.Mode = UART_MODE_TX_RX;
  huart1.Init.HwFlowCtl = UART_HWCONTROL_NONE;
  huart1.Init.OverSampling = UART_OVERSAMPLING_16;
  huart1.Init.OneBitSampling = UART_ONE_BIT_SAMPLE_DISABLE;
  huart1.AdvancedInit.AdvFeatureInit = UART_ADVFEATURE_NO_INIT;
  if (HAL_UART_Init(&huart1) != HAL_OK)
  {
    Error_Handler();
  }

}

static void MX_USART3_UART_Init(void)
{

  huart3.Instance = USART3;
  huart3.Init.BaudRate = 115200;
  huart3.Init.WordLength = UART_WORDLENGTH_8B;
  huart3.Init.StopBits = UART_STOPBITS_1;
  huart3.Init.Parity = UART_PARITY_NONE;
  huart3.Init.Mode = UART_MODE_TX_RX;
  huart3.Init.HwFlowCtl = UART_HWCONTROL_NONE;
  huart3.Init.OverSampling = UART_OVERSAMPLING_16;
  huart3.Init.OneBitSampling = UART_ONE_BIT_SAMPLE_DISABLE;
  huart3.AdvancedInit.AdvFeatureInit = UART_ADVFEATURE_NO_INIT;
  if (HAL_UART_Init(&huart3) != HAL_OK)
  {
    Error_Handler();
  }

}

static void MX_USB_OTG_FS_PCD_Init(void)
{

  hpcd_USB_OTG_FS.Instance = USB_OTG_FS;
  hpcd_USB_OTG_FS.Init.dev_endpoints = 6;
  hpcd_USB_OTG_FS.Init.speed = PCD_SPEED_FULL;
  hpcd_USB_OTG_FS.Init.phy_itface = PCD_PHY_EMBEDDED;
  hpcd_USB_OTG_FS.Init.Sof_enable = DISABLE;
  hpcd_USB_OTG_FS.Init.low_power_enable = DISABLE;
  hpcd_USB_OTG_FS.Init.lpm_enable = DISABLE;
  hpcd_USB_OTG_FS.Init.battery_charging_enable = DISABLE;
  hpcd_USB_OTG_FS.Init.use_dedicated_ep1 = DISABLE;
  hpcd_USB_OTG_FS.Init.vbus_sensing_enable = DISABLE;
  if (HAL_PCD_Init(&hpcd_USB_OTG_FS) != HAL_OK)
  {
    Error_Handler();
  }

}

static void MX_GPIO_Init(void)
{
  GPIO_InitTypeDef GPIO_InitStruct = {0};

  /* GPIO Ports Clock Enable */
  __HAL_RCC_GPIOE_CLK_ENABLE();
  __HAL_RCC_GPIOC_CLK_ENABLE();
  __HAL_RCC_GPIOA_CLK_ENABLE();
  __HAL_RCC_GPIOB_CLK_ENABLE();
  __HAL_RCC_GPIOD_CLK_ENABLE();

  /*Configure GPIO pin Output Level */
  HAL_GPIO_WritePin(GPIOE, M24SR64_Y_RF_DISABLE_Pin|M24SR64_Y_GPO_Pin|ISM43362_RST_Pin, GPIO_PIN_RESET);

  /*Configure GPIO pin Output Level */
  HAL_GPIO_WritePin(GPIOA, LED_ADD_WATER_Pin|LED_AUTO_OFF_Pin|ARD_D10_Pin|LED_CUP_SIZE_2_Pin
                          |SPBTLE_RF_RST_Pin|ARD_D9_Pin, GPIO_PIN_RESET);

  /*Configure GPIO pin Output Level */
  HAL_GPIO_WritePin(BUZZER_GPIO_Port, BUZZER_Pin, GPIO_PIN_SET);

  /*Configure GPIO pin Output Level */
  HAL_GPIO_WritePin(GPIOB, LED_CUP_SIZE_1_Pin|LED_CUP_SIZE_4_Pin|ARD_D8_Pin|ISM43362_BOOT0_Pin
                          |ISM43362_WAKEUP_Pin|LED2_Pin|SPSGRF_915_SDN_Pin|LED_CUP_SIZE_3_Pin, GPIO_PIN_RESET);

  /*Configure GPIO pin Output Level */
  HAL_GPIO_WritePin(GPIOD, USB_OTG_FS_PWR_EN_Pin|LED_STRONG_BREW_Pin|TFT_RESET_Pin|TFT_DC_Pin
                          |TFT_CS_Pin|STSAFE_A100_RESET_Pin, GPIO_PIN_RESET);

  /*Configure GPIO pin Output Level */
  HAL_GPIO_WritePin(SPBTLE_RF_SPI3_CSN_GPIO_Port, SPBTLE_RF_SPI3_CSN_Pin, GPIO_PIN_SET);

  /*Configure GPIO pin Output Level */
  HAL_GPIO_WritePin(GPIOC, VL53L0X_XSHUT_Pin|LED3_WIFI__LED4_BLE_Pin, GPIO_PIN_RESET);

  /*Configure GPIO pin Output Level */
  HAL_GPIO_WritePin(SPSGRF_915_SPI3_CSN_GPIO_Port, SPSGRF_915_SPI3_CSN_Pin, GPIO_PIN_SET);

  /*Configure GPIO pin Output Level */
  HAL_GPIO_WritePin(ISM43362_SPI3_CSN_GPIO_Port, ISM43362_SPI3_CSN_Pin, GPIO_PIN_SET);

  /*Configure GPIO pins : M24SR64_Y_RF_DISABLE_Pin M24SR64_Y_GPO_Pin ISM43362_RST_Pin ISM43362_SPI3_CSN_Pin */
  GPIO_InitStruct.Pin = M24SR64_Y_RF_DISABLE_Pin|M24SR64_Y_GPO_Pin|ISM43362_RST_Pin|ISM43362_SPI3_CSN_Pin;
  GPIO_InitStruct.Mode = GPIO_MODE_OUTPUT_PP;
  GPIO_InitStruct.Pull = GPIO_NOPULL;
  GPIO_InitStruct.Speed = GPIO_SPEED_FREQ_LOW;
  HAL_GPIO_Init(GPIOE, &GPIO_InitStruct);

  /*Configure GPIO pins : SPSGRF_915_GPIO3_EXTI5_Pin SPBTLE_RF_IRQ_EXTI6_Pin */
  GPIO_InitStruct.Pin = SPSGRF_915_GPIO3_EXTI5_Pin|SPBTLE_RF_IRQ_EXTI6_Pin;
  GPIO_InitStruct.Mode = GPIO_MODE_IT_RISING;
  GPIO_InitStruct.Pull = GPIO_NOPULL;
  HAL_GPIO_Init(GPIOE, &GPIO_InitStruct);

  /*Configure GPIO pin : BUTTON_EXTI13_Pin */
  GPIO_InitStruct.Pin = BUTTON_EXTI13_Pin;
  GPIO_InitStruct.Mode = GPIO_MODE_IT_FALLING;
  GPIO_InitStruct.Pull = GPIO_NOPULL;
  HAL_GPIO_Init(BUTTON_EXTI13_GPIO_Port, &GPIO_InitStruct);

  /*Configure GPIO pins : BUTTON_CUP_SIZE_1_Pin BUTTON_CUP_SIZE_2_Pin BUTTON_CUP_SIZE_3_Pin BUTTON_CUP_SIZE_4_Pin
                           BUTTON_STRONG_BREW_Pin */
  GPIO_InitStruct.Pin = BUTTON_CUP_SIZE_1_Pin|BUTTON_CUP_SIZE_2_Pin|BUTTON_CUP_SIZE_3_Pin|BUTTON_CUP_SIZE_4_Pin
                          |BUTTON_STRONG_BREW_Pin;
  GPIO_InitStruct.Mode = GPIO_MODE_IT_FALLING;
  GPIO_InitStruct.Pull = GPIO_PULLUP;
  HAL_GPIO_Init(GPIOC, &GPIO_InitStruct);

  /*Configure GPIO pins : LED_ADD_WATER_Pin LED_AUTO_OFF_Pin ARD_D10_Pin LED_CUP_SIZE_2_Pin
                           SPBTLE_RF_RST_Pin ARD_D9_Pin */
  GPIO_InitStruct.Pin = LED_ADD_WATER_Pin|LED_AUTO_OFF_Pin|ARD_D10_Pin|LED_CUP_SIZE_2_Pin
                          |SPBTLE_RF_RST_Pin|ARD_D9_Pin;
  GPIO_InitStruct.Mode = GPIO_MODE_OUTPUT_PP;
  GPIO_InitStruct.Pull = GPIO_NOPULL;
  GPIO_InitStruct.Speed = GPIO_SPEED_FREQ_LOW;
  HAL_GPIO_Init(GPIOA, &GPIO_InitStruct);

  /*Configure GPIO pin : BUZZER_Pin */
  GPIO_InitStruct.Pin = BUZZER_Pin;
  GPIO_InitStruct.Mode = GPIO_MODE_OUTPUT_OD;
  GPIO_InitStruct.Pull = GPIO_NOPULL;
  GPIO_InitStruct.Speed = GPIO_SPEED_FREQ_LOW;
  HAL_GPIO_Init(BUZZER_GPIO_Port, &GPIO_InitStruct);

  /*Configure GPIO pins : ARD_D13_Pin ARD_D12_Pin ARD_D11_Pin */
  GPIO_InitStruct.Pin = ARD_D13_Pin|ARD_D12_Pin|ARD_D11_Pin;
  GPIO_InitStruct.Mode = GPIO_MODE_AF_PP;
  GPIO_InitStruct.Pull = GPIO_NOPULL;
  GPIO_InitStruct.Speed = GPIO_SPEED_FREQ_VERY_HIGH;
  GPIO_InitStruct.Alternate = GPIO_AF5_SPI1;
  HAL_GPIO_Init(GPIOA, &GPIO_InitStruct);

  /*Configure GPIO pins : LED_CUP_SIZE_1_Pin LED_CUP_SIZE_4_Pin ARD_D8_Pin ISM43362_BOOT0_Pin
                           ISM43362_WAKEUP_Pin LED2_Pin SPSGRF_915_SDN_Pin LED_CUP_SIZE_3_Pin
                           SPSGRF_915_SPI3_CSN_Pin */
  GPIO_InitStruct.Pin = LED_CUP_SIZE_1_Pin|LED_CUP_SIZE_4_Pin|ARD_D8_Pin|ISM43362_BOOT0_Pin
                          |ISM43362_WAKEUP_Pin|LED2_Pin|SPSGRF_915_SDN_Pin|LED_CUP_SIZE_3_Pin
                          |SPSGRF_915_SPI3_CSN_Pin;
  GPIO_InitStruct.Mode = GPIO_MODE_OUTPUT_PP;
  GPIO_InitStruct.Pull = GPIO_NOPULL;
  GPIO_InitStruct.Speed = GPIO_SPEED_FREQ_LOW;
  HAL_GPIO_Init(GPIOB, &GPIO_InitStruct);

  /*Configure GPIO pins : LPS22HB_INT_DRDY_EXTI0_Pin LSM6DSL_INT1_EXTI11_Pin HTS221_DRDY_EXTI15_Pin */
  GPIO_InitStruct.Pin = LPS22HB_INT_DRDY_EXTI0_Pin|LSM6DSL_INT1_EXTI11_Pin|HTS221_DRDY_EXTI15_Pin;
  GPIO_InitStruct.Mode = GPIO_MODE_IT_RISING;
  GPIO_InitStruct.Pull = GPIO_NOPULL;
  HAL_GPIO_Init(GPIOD, &GPIO_InitStruct);

  /*Configure GPIO pins : USB_OTG_FS_PWR_EN_Pin SPBTLE_RF_SPI3_CSN_Pin LED_STRONG_BREW_Pin TFT_RESET_Pin
                           TFT_DC_Pin TFT_CS_Pin STSAFE_A100_RESET_Pin */
  GPIO_InitStruct.Pin = USB_OTG_FS_PWR_EN_Pin|SPBTLE_RF_SPI3_CSN_Pin|LED_STRONG_BREW_Pin|TFT_RESET_Pin
                          |TFT_DC_Pin|TFT_CS_Pin|STSAFE_A100_RESET_Pin;
  GPIO_InitStruct.Mode = GPIO_MODE_OUTPUT_PP;
  GPIO_InitStruct.Pull = GPIO_NOPULL;
  GPIO_InitStruct.Speed = GPIO_SPEED_FREQ_LOW;
  HAL_GPIO_Init(GPIOD, &GPIO_InitStruct);

  /*Configure GPIO pins : VL53L0X_XSHUT_Pin LED3_WIFI__LED4_BLE_Pin */
  GPIO_InitStruct.Pin = VL53L0X_XSHUT_Pin|LED3_WIFI__LED4_BLE_Pin;
  GPIO_InitStruct.Mode = GPIO_MODE_OUTPUT_PP;
  GPIO_InitStruct.Pull = GPIO_NOPULL;
  GPIO_InitStruct.Speed = GPIO_SPEED_FREQ_LOW;
  HAL_GPIO_Init(GPIOC, &GPIO_InitStruct);

  /*Configure GPIO pins : VL53L0X_GPIO1_EXTI7_Pin LSM3MDL_DRDY_EXTI8_Pin */
  GPIO_InitStruct.Pin = VL53L0X_GPIO1_EXTI7_Pin|LSM3MDL_DRDY_EXTI8_Pin;
  GPIO_InitStruct.Mode = GPIO_MODE_IT_RISING;
  GPIO_InitStruct.Pull = GPIO_NOPULL;
  HAL_GPIO_Init(GPIOC, &GPIO_InitStruct);

  /*Configure GPIO pin : PMOD_UART2_RX_Pin */
  GPIO_InitStruct.Pin = PMOD_UART2_RX_Pin;
  GPIO_InitStruct.Mode = GPIO_MODE_AF_PP;
  GPIO_InitStruct.Pull = GPIO_NOPULL;
  GPIO_InitStruct.Speed = GPIO_SPEED_FREQ_VERY_HIGH;
  GPIO_InitStruct.Alternate = GPIO_AF7_USART2;
  HAL_GPIO_Init(PMOD_UART2_RX_GPIO_Port, &GPIO_InitStruct);

  /*Configure GPIO pins : ARD_D15_Pin ARD_D14_Pin */
  GPIO_InitStruct.Pin = ARD_D15_Pin|ARD_D14_Pin;
  GPIO_InitStruct.Mode = GPIO_MODE_AF_OD;
  GPIO_InitStruct.Pull = GPIO_NOPULL;
  GPIO_InitStruct.Speed = GPIO_SPEED_FREQ_VERY_HIGH;
  GPIO_InitStruct.Alternate = GPIO_AF4_I2C1;
  HAL_GPIO_Init(GPIOB, &GPIO_InitStruct);

  /* EXTI interrupt init*/
  HAL_NVIC_SetPriority(EXTI0_IRQn, 5, 0);
  HAL_NVIC_EnableIRQ(EXTI0_IRQn);

  HAL_NVIC_SetPriority(EXTI1_IRQn, 5, 0);
  HAL_NVIC_EnableIRQ(EXTI1_IRQn);

  HAL_NVIC_SetPriority(EXTI2_IRQn, 5, 0);
  HAL_NVIC_EnableIRQ(EXTI2_IRQn);

  HAL_NVIC_SetPriority(EXTI3_IRQn, 5, 0);
  HAL_NVIC_EnableIRQ(EXTI3_IRQn);

  HAL_NVIC_SetPriority(EXTI4_IRQn, 5, 0);
  HAL_NVIC_EnableIRQ(EXTI4_IRQn);

  HAL_NVIC_SetPriority(EXTI9_5_IRQn, 5, 0);
  HAL_NVIC_EnableIRQ(EXTI9_5_IRQn);

  HAL_NVIC_SetPriority(EXTI15_10_IRQn, 5, 0);
  HAL_NVIC_EnableIRQ(EXTI15_10_IRQn);

}

void StartCoffeeStateMachineTask(void const * argument)
{
  /* USER CODE BEGIN 5 */
    CoffeeEvent_t evt;
    uint8_t uWater_lvl;

    for (;;) {
        /* Wait for an event (buttons) with 100ms timeout to also handle timers */
        if (xQueueReceive(xEventQueueHandle, &evt, pdMS_TO_TICKS(100)) == pdPASS) {
            gLastActivityTick = xTaskGetTickCount();

            switch (evt) {
            case EVT_POWER_TOGGLE:
            	beep(1);
                if (gCoffeeState == COFFEE_STATE_OFF) {
                	gAutoOffFlag = 0;
                    gCoffeeState = COFFEE_STATE_IDLE;
                    Coffee_SendConsole("Power On\r\n");

                }
                else {
                    gCoffeeState = COFFEE_STATE_OFF;
                    gStrongBrew  = 0;
                    gAutoOffFlag = 0;
                    gCurrentCup  = CUP_NONE;   // clear selection
                    Coffee_SendConsole("Power Off\r\n");
                }
                break;

            case EVT_STRONG_TOGGLE:
            	beep(1);
                if (gCoffeeState != COFFEE_STATE_OFF) {
                    gStrongBrew = !gStrongBrew;
                    if (gStrongBrew)
                    	Coffee_SendConsole("Strong Brew: ON\r\n");
                    else
                    	Coffee_SendConsole("Strong Brew: OFF\r\n");
                }
                break;

            case EVT_CUP_1:
            case EVT_CUP_2:
            case EVT_CUP_3:
            case EVT_CUP_4:
            	beep(1);
                if (gCoffeeState == COFFEE_STATE_IDLE) {
                	uWater_lvl = Coffee_ReadWaterLevelPercent();
                    if (uWater_lvl < WATER_LEVEL_MIN_PERCENT) {
                        gCoffeeState = COFFEE_STATE_ERROR_NO_WATER;
                        Coffee_SendConsole("Error: Low water level (%u%%)\r\n", uWater_lvl);
                    }
                    else {
                        /* Select brew time */
                        switch (evt) {
                        case EVT_CUP_1:
                        	gBrewDurationMs = BREW_TIME_CUP1_MS;
                        	gCurrentCup = CUP_1;
                        	break;
                        case EVT_CUP_2:
                        	gBrewDurationMs = BREW_TIME_CUP2_MS;
                        	gCurrentCup = CUP_2;
                        	break;
                        case EVT_CUP_3:
                        	gBrewDurationMs = BREW_TIME_CUP3_MS;
                        	gCurrentCup = CUP_3;
                        	break;
                        case EVT_CUP_4:
                        	gBrewDurationMs = BREW_TIME_CUP4_MS;
                        	gCurrentCup = CUP_4;
                        	break;
                        default:
                        	gBrewDurationMs = BREW_TIME_CUP1_MS;
                        	gCurrentCup = CUP_1;
                        	break;
                        }

                        gCoffeeState = COFFEE_STATE_BREWING;
                        gBrewEndTick = xTaskGetTickCount() + pdMS_TO_TICKS(gBrewDurationMs);

                        Coffee_SendConsole("Brewing started (%lu ms) %s\r\n", (unsigned long)gBrewDurationMs, gStrongBrew ? "[STRONG]" : "");
                    }
                }
                break;

            default:
                break;
            }
        }

        /* State-based housekeeping */
        TickType_t now = xTaskGetTickCount();

        if (gCoffeeState == COFFEE_STATE_BREWING) {

            if (now >= gBrewEndTick) {
            	beep(3);
            	Coffee_SendConsole("Brewing complete\r\n");
                gCoffeeState = COFFEE_STATE_DONE;
                gAutoOffFlag = 0;
                gLastActivityTick = now;
                gCurrentCup = 0;           // clear selection when done
				gBrewDurationMs = 0;
            }
            uWater_lvl = Coffee_ReadWaterLevelPercent();
			if (uWater_lvl < WATER_LEVEL_MIN_PERCENT) {
				gCoffeeState = COFFEE_STATE_ERROR_NO_WATER;
				Coffee_SendConsole("Error: Low water level (%u%%)\r\n", uWater_lvl);
			}
        }
        if (gCoffeeState == COFFEE_STATE_DONE) {
        	if ((now - gBrewEndTick) > pdMS_TO_TICKS(2000)) {
        		gCoffeeState = COFFEE_STATE_IDLE;
        	}

        }

        if (gCoffeeState == COFFEE_STATE_ERROR_NO_WATER) {
            /* Blink Add Water LED, state cleared when water OK and user presses power */
            HAL_GPIO_TogglePin(LED_ADD_WATER_GPIO_Port, LED_ADD_WATER_Pin);
        }

        /* Auto-off: after timeout in IDLE, turn machine off and set auto-off LED */
        if ((gCoffeeState == COFFEE_STATE_IDLE) &&
            ((now - gLastActivityTick) > pdMS_TO_TICKS(AUTO_OFF_TIMEOUT_MS))) {
            gCoffeeState = COFFEE_STATE_OFF;
            gStrongBrew = 0;
            gAutoOffFlag = 1;
            Coffee_SendConsole("Auto Off\r\n");
        }

        Coffee_UpdateLeds();
    }
  /* USER CODE END 5 */
}

void StartCoffeeSensorTask(void const * argument)
{
  /* USER CODE BEGIN StartCoffeeSensorTask */
  /* Infinite loop */
    for (;;)
    {
        uint8_t water = Coffee_ReadWaterLevelPercent();
        float tempC   = Coffee_ReadTemperatureDegC();

        /* Add Water LED: on if low water, off otherwise (if not blinking for error) */
        if (gCoffeeState != COFFEE_STATE_OFF &&gCoffeeState != COFFEE_STATE_ERROR_NO_WATER)
        {
            if (water < WATER_LEVEL_MIN_PERCENT)
                HAL_GPIO_WritePin(LED_ADD_WATER_GPIO_Port, LED_ADD_WATER_Pin, GPIO_PIN_SET);
            else
                HAL_GPIO_WritePin(LED_ADD_WATER_GPIO_Port, LED_ADD_WATER_Pin, GPIO_PIN_RESET);

            /* Periodic console status like a real coffee maker display */
			Coffee_SendConsole("Water: %u%%  Temp: %.1fC\r\n", water, tempC);
        }

        vTaskDelay(pdMS_TO_TICKS(1000)); // every 1s
    }
  /* USER CODE END StartCoffeeSensorTask */
}

void StartCoffeeConsoleTask(void const * argument)
{
  /* USER CODE BEGIN StartCoffeeConsoleTask */
  /* Infinite loop */
	ConsoleMessage_t msg;
	for (;;)
	{
		HAL_GPIO_TogglePin(LED3_WIFI__LED4_BLE_GPIO_Port, LED3_WIFI__LED4_BLE_Pin);
		if (xQueueReceive(xConsoleQueueHandle, &msg, portMAX_DELAY) == pdPASS)
		{
			HAL_UART_Transmit(&huart1, (uint8_t*)msg.text, strlen(msg.text), HAL_MAX_DELAY);
		}
	}
  /* USER CODE END StartCoffeConsoleTask */
}

void StartCoffeeDisplayTask(void const * argument)
{
    /* USER CODE BEGIN StartCoffeeDisplayTask */

    /* Initialize LCD --------------------------------------------------------*/
    ST7735_Init();
    ST7735_FillScreenFast(COLOR_BG);
    ST7735_SetGamma(GAMMA_22);

    CoffeeState_t lastState = (CoffeeState_t)(-1);

    /* Main display loop -----------------------------------------------------*/
    for (;;) {
        CoffeeState_t state = gCoffeeState;
        uint8_t water   = Coffee_ReadWaterLevelPercent();
        float tempC     = Coffee_ReadTemperatureDegC();

        if (state != lastState) {
            ST7735_FillScreenFast(COLOR_BG);
            lastState = state;
        }

        switch (state) {
        case COFFEE_STATE_OFF:
        	if (state == COFFEE_STATE_OFF && gAutoOffFlag)
				Screen_AutoOff();
        	else
        		ST7735_FillScreen(ST7735_BLACK);
        	break;
        case COFFEE_STATE_IDLE:
            Screen_OffOrIdle(water, tempC);
            break;

        case COFFEE_STATE_BREWING:
            Screen_Brewing(water, tempC);
            break;

        case COFFEE_STATE_DONE:
        	Screen_Done();
        	break;

        case COFFEE_STATE_ERROR_NO_WATER:
            Screen_ErrorNoWater();
            break;
        }

        vTaskDelay(pdMS_TO_TICKS(250));  // ~4 FPS
    }

    /* USER CODE END StartCoffeeDisplayTask */
}

void HAL_TIM_PeriodElapsedCallback(TIM_HandleTypeDef *htim)
{
  if (htim->Instance == TIM1)
  {
    HAL_IncTick();
  }
}

void Error_Handler(void)
{
  __disable_irq();
  while (1)
  {
  }
}
